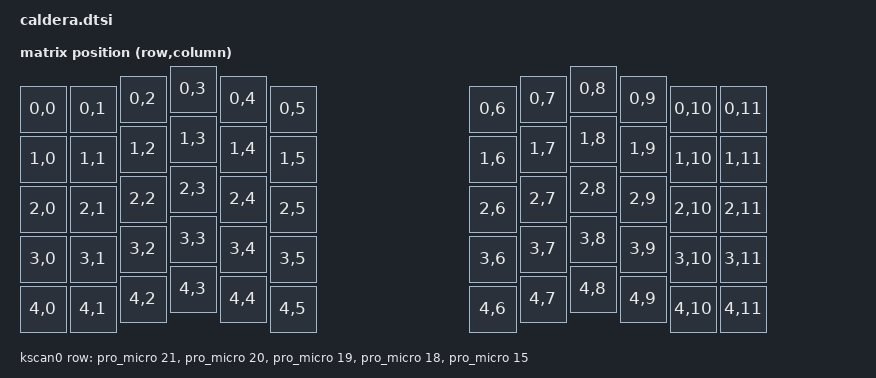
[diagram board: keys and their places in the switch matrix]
#include <dt-bindings/zmk/matrix_transform.h>
#include <physical_layouts.dtsi>

/ {
    chosen {
        zmk,kscan = &kscan0;
        zmk,physical-layout = &default_layout;
    };

    default_layout: default_layout {
        compatible = "zmk,physical-layout";
        display-name = "Default";
        kscan = <&kscan0>;
        transform = <&default_transform>;
        keys
            //                     w    h     x     y   rot  rx  ry
            = <&key_physical_attrs 100  100  100   40    0   0   0>
            , <&key_physical_attrs 100  100  200   40    0   0   0>
            , <&key_physical_attrs 100  100  300   20    0   0   0>
            , <&key_physical_attrs 100  100  400    0    0   0   0>
            , <&key_physical_attrs 100  100  500   20    0   0   0>
            , <&key_physical_attrs 100  100  600   40    0   0   0>
            , <&key_physical_attrs 100  100 1000   40    0   0   0>
            , <&key_physical_attrs 100  100 1100   20    0   0   0>
            , <&key_physical_attrs 100  100 1200    0    0   0   0>
            , <&key_physical_attrs 100  100 1300   20    0   0   0>
            , <&key_physical_attrs 100  100 1400   40    0   0   0>
            , <&key_physical_attrs 100  100 1500   40    0   0   0>
            , <&key_physical_attrs 100  100  100  140    0   0   0>
            , <&key_physical_attrs 100  100  200  140    0   0   0>
            , <&key_physical_attrs 100  100  300  120    0   0   0>
            , <&key_physical_attrs 100  100  400  100    0   0   0>
            , <&key_physical_attrs 100  100  500  120    0   0   0>
            , <&key_physical_attrs 100  100  600  140    0   0   0>
            , <&key_physical_attrs 100  100 1000  140    0   0   0>
            , <&key_physical_attrs 100  100 1100  120    0   0   0>
            , <&key_physical_attrs 100  100 1200  100    0   0   0>
            , <&key_physical_attrs 100  100 1300  120    0   0   0>
            , <&key_physical_attrs 100  100 1400  140    0   0   0>
            , <&key_physical_attrs 100  100 1500  140    0   0   0>
            , <&key_physical_attrs 100  100  100  240    0   0   0>
            , <&key_physical_attrs 100  100  200  240    0   0   0>
            , <&key_physical_attrs 100  100  300  220    0   0   0>
            , <&key_physical_attrs 100  100  400  200    0   0   0>
            , <&key_physical_attrs 100  100  500  220    0   0   0>
            , <&key_physical_attrs 100  100  600  240    0   0   0>
            , <&key_physical_attrs 100  100 1000  240    0   0   0>
            , <&key_physical_attrs 100  100 1100  220    0   0   0>
            , <&key_physical_attrs 100  100 1200  200    0   0   0>
            , <&key_physical_attrs 100  100 1300  220    0   0   0>
            , <&key_physical_attrs 100  100 1400  240    0   0   0>
            , <&key_physical_attrs 100  100 1500  240    0   0   0>
            , <&key_physical_attrs 100  100  100  340    0   0   0>
            , <&key_physical_attrs 100  100  200  340    0   0   0>
            , <&key_physical_attrs 100  100  300  320    0   0   0>
            , <&key_physical_attrs 100  100  400  300    0   0   0>
            , <&key_physical_attrs 100  100  500  320    0   0   0>
            , <&key_physical_attrs 100  100  600  340    0   0   0>
            , <&key_physical_attrs 100  100 1000  340    0   0   0>
            , <&key_physical_attrs 100  100 1100  320    0   0   0>
            , <&key_physical_attrs 100  100 1200  300    0   0   0>
            , <&key_physical_attrs 100  100 1300  320    0   0   0>
            , <&key_physical_attrs 100  100 1400  340    0   0   0>
            , <&key_physical_attrs 100  100 1500  340    0   0   0>
            , <&key_physical_attrs 100  100  100  440    0   0   0>
            , <&key_physical_attrs 100  100  200  440    0   0   0>
            , <&key_physical_attrs 100  100  300  420    0   0   0>
            , <&key_physical_attrs 100  100  400  400    0   0   0>
            , <&key_physical_attrs 100  100  500  420    0   0   0>
            , <&key_physical_attrs 100  100  600  440    0   0   0>
            , <&key_physical_attrs 100  100 1000  440    0   0   0>
            , <&key_physical_attrs 100  100 1100  420    0   0   0>
            , <&key_physical_attrs 100  100 1200  400    0   0   0>
            , <&key_physical_attrs 100  100 1300  420    0   0   0>
            , <&key_physical_attrs 100  100 1400  440    0   0   0>
            , <&key_physical_attrs 100  100 1500  440    0   0   0>
            ;
    };

    default_transform: keymap_transform_0 {
        compatible = "zmk,matrix-transform";
        columns = <12>;
        rows = <5>;
// | SW6  | SW5  | SW4  | SW3  | SW2  | SW1  |                 | SW1  | SW2  | SW3  | SW4  | SW5  | SW6  |
// | SW12 | SW11 | SW10 | SW9  | SW8  | SW7  |                 | SW7  | SW8  | SW9  | SW10 | SW11 | SW12 |
// | SW18 | SW17 | SW16 | SW15 | SW14 | SW13 |                 | SW13 | SW14 | SW15 | SW16 | SW17 | SW18 |
// | SW24 | SW23 | SW22 | SW21 | SW20 | SW19 |                 | SW19 | SW20 | SW21 | SW22 | SW23 | SW24 |
// | SW30 | SW29 | SW28 | SW27 | SW26 | SW25 |                 | SW25 | SW26 | SW27 | SW28 | SW29 | SW30 |

        map = <
RC(0,0) RC(0,1) RC(0,2) RC(0,3) RC(0,4) RC(0,5)                 RC(0,6) RC(0,7) RC(0,8) RC(0,9) RC(0,10) RC(0,11)
RC(1,0) RC(1,1) RC(1,2) RC(1,3) RC(1,4) RC(1,5)                 RC(1,6) RC(1,7) RC(1,8) RC(1,9) RC(1,10) RC(1,11)
RC(2,0) RC(2,1) RC(2,2) RC(2,3) RC(2,4) RC(2,5)                 RC(2,6) RC(2,7) RC(2,8) RC(2,9) RC(2,10) RC(2,11)
RC(3,0) RC(3,1) RC(3,2) RC(3,3) RC(3,4) RC(3,5)                 RC(3,6) RC(3,7) RC(3,8) RC(3,9) RC(3,10) RC(3,11)
RC(4,0) RC(4,1) RC(4,2) RC(4,3) RC(4,4) RC(4,5)                 RC(4,6) RC(4,7) RC(4,8) RC(4,9) RC(4,10) RC(4,11)
        >;
    };

    kscan0: kscan {
        compatible = "zmk,kscan-gpio-matrix";
        wakeup-source;
        diode-direction = "col2row";
        row-gpios
            = <&pro_micro 21 (GPIO_ACTIVE_HIGH | GPIO_PULL_DOWN)> // Row A from the schematic file
            , <&pro_micro 20 (GPIO_ACTIVE_HIGH | GPIO_PULL_DOWN)> // Row B from the schematic file
            , <&pro_micro 19 (GPIO_ACTIVE_HIGH | GPIO_PULL_DOWN)> // Row C from the schematic file
            , <&pro_micro 18 (GPIO_ACTIVE_HIGH | GPIO_PULL_DOWN)> // Row D from the schematic file
            , <&pro_micro 15 (GPIO_ACTIVE_HIGH | GPIO_PULL_DOWN)> // Row E from the schematic file
            ;
    };
};
